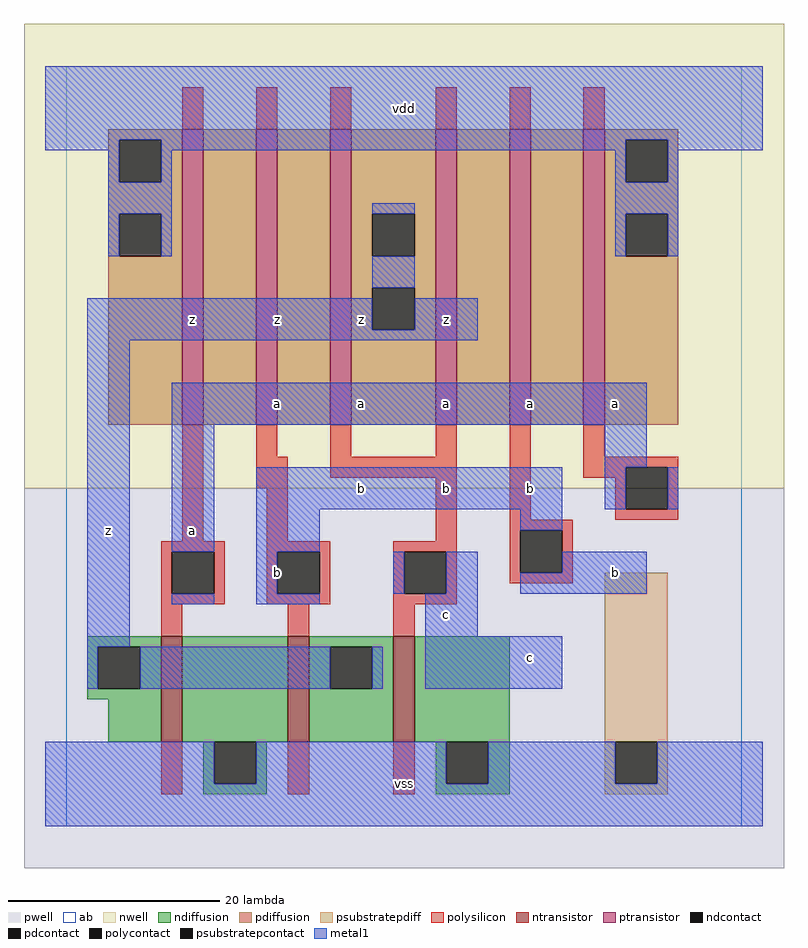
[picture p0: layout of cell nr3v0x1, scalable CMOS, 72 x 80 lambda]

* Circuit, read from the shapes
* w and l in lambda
.subckt nr3v0x1 a b c vdd vss z
M1 vss a z vss nfet w=10 l=2
M2 z b vss vss nfet w=10 l=2
M3 vss c z vss nfet w=10 l=2
M4 n1 a vdd n2 pfet w=28 l=2
M5 n3 b n1 n2 pfet w=28 l=2
M6 z c n3 n2 pfet w=28 l=2
M7 n4 c z n2 pfet w=28 l=2
M8 n5 b n4 n2 pfet w=28 l=2
M9 vdd a n5 n2 pfet w=28 l=2
.ends

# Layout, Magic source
magic
tech scmos
<< ab >>
rect 0 0 64 72
<< pwell >>
rect -4 -4 68 32
<< nwell >>
rect -4 32 68 76
<< polysilicon >>
rect 11 66 13 70
rect 18 66 20 70
rect 25 66 27 70
rect 35 66 37 70
rect 42 66 44 70
rect 49 66 51 70
rect 11 27 13 38
rect 18 35 20 38
rect 25 35 27 38
rect 35 35 37 38
rect 18 32 21 35
rect 25 33 37 35
rect 19 27 21 32
rect 35 27 37 33
rect 9 26 15 27
rect 9 22 10 26
rect 14 22 15 26
rect 9 21 15 22
rect 19 26 25 27
rect 19 22 20 26
rect 24 22 25 26
rect 19 21 25 22
rect 31 26 37 27
rect 31 22 32 26
rect 36 22 37 26
rect 42 29 44 38
rect 49 35 51 38
rect 49 34 58 35
rect 49 33 53 34
rect 52 30 53 33
rect 57 30 58 34
rect 52 29 58 30
rect 42 28 48 29
rect 42 24 43 28
rect 47 24 48 28
rect 42 23 48 24
rect 31 21 37 22
rect 9 18 11 21
rect 21 18 23 21
rect 31 18 33 21
rect 9 3 11 8
rect 21 3 23 8
rect 31 3 33 8
<< ndiffusion >>
rect 2 17 9 18
rect 2 13 3 17
rect 7 13 9 17
rect 2 12 9 13
rect 4 8 9 12
rect 11 8 21 18
rect 23 17 31 18
rect 23 13 25 17
rect 29 13 31 17
rect 23 8 31 13
rect 33 8 42 18
rect 13 4 14 8
rect 18 4 19 8
rect 13 3 19 4
rect 35 4 36 8
rect 40 4 42 8
rect 35 3 42 4
<< pdiffusion >>
rect 4 65 11 66
rect 4 61 5 65
rect 9 61 11 65
rect 4 58 11 61
rect 4 54 5 58
rect 9 54 11 58
rect 4 38 11 54
rect 13 38 18 66
rect 20 38 25 66
rect 27 58 35 66
rect 27 54 29 58
rect 33 54 35 58
rect 27 51 35 54
rect 27 47 29 51
rect 33 47 35 51
rect 27 38 35 47
rect 37 38 42 66
rect 44 38 49 66
rect 51 65 58 66
rect 51 61 53 65
rect 57 61 58 65
rect 51 58 58 61
rect 51 54 53 58
rect 57 54 58 58
rect 51 38 58 54
<< metal1 >>
rect -2 65 66 72
rect -2 64 5 65
rect 4 61 5 64
rect 9 64 53 65
rect 9 61 10 64
rect 4 58 10 61
rect 52 61 53 64
rect 57 64 66 65
rect 57 61 58 64
rect 4 54 5 58
rect 9 54 10 58
rect 29 58 33 59
rect 52 58 58 61
rect 52 54 53 58
rect 57 54 58 58
rect 29 51 33 54
rect 2 47 29 50
rect 33 47 39 50
rect 2 46 39 47
rect 2 17 6 46
rect 10 38 55 42
rect 10 26 14 38
rect 51 34 55 38
rect 10 21 14 22
rect 18 30 47 34
rect 51 30 53 34
rect 57 30 58 34
rect 18 26 24 30
rect 43 28 47 30
rect 18 22 20 26
rect 31 22 32 26
rect 36 22 39 26
rect 47 24 55 26
rect 43 22 55 24
rect 18 21 24 22
rect 34 18 39 22
rect 2 13 3 17
rect 7 13 25 17
rect 29 13 30 17
rect 34 13 47 18
rect -2 4 14 8
rect 18 4 36 8
rect 40 4 52 8
rect 56 4 66 8
rect -2 0 66 4
<< ntransistor >>
rect 9 8 11 18
rect 21 8 23 18
rect 31 8 33 18
<< ptransistor >>
rect 11 38 13 66
rect 18 38 20 66
rect 25 38 27 66
rect 35 38 37 66
rect 42 38 44 66
rect 49 38 51 66
<< polycontact >>
rect 10 22 14 26
rect 20 22 24 26
rect 32 22 36 26
rect 53 30 57 34
rect 43 24 47 28
<< ndcontact >>
rect 3 13 7 17
rect 25 13 29 17
rect 14 4 18 8
rect 36 4 40 8
<< pdcontact >>
rect 5 61 9 65
rect 5 54 9 58
rect 29 54 33 58
rect 29 47 33 51
rect 53 61 57 65
rect 53 54 57 58
<< psubstratepcontact >>
rect 52 4 56 8
<< psubstratepdiff >>
rect 51 8 57 24
rect 51 4 52 8
rect 56 4 57 8
rect 51 3 57 4
<< labels >>
rlabel metal1 4 28 4 28 6 z
rlabel metal1 20 24 20 24 6 b
rlabel metal1 12 28 12 28 6 a
rlabel metal1 20 40 20 40 6 a
rlabel metal1 12 48 12 48 6 z
rlabel metal1 20 48 20 48 6 z
rlabel metal1 32 4 32 4 6 vss
rlabel metal1 36 20 36 20 6 c
rlabel metal1 36 32 36 32 6 b
rlabel metal1 28 32 28 32 6 b
rlabel metal1 28 40 28 40 6 a
rlabel metal1 36 40 36 40 6 a
rlabel metal1 28 48 28 48 6 z
rlabel metal1 36 48 36 48 6 z
rlabel metal1 32 68 32 68 6 vdd
rlabel metal1 44 16 44 16 6 c
rlabel metal1 44 32 44 32 6 b
rlabel metal1 44 40 44 40 6 a
rlabel metal1 52 24 52 24 6 b
rlabel metal1 52 40 52 40 6 a
<< end >>
